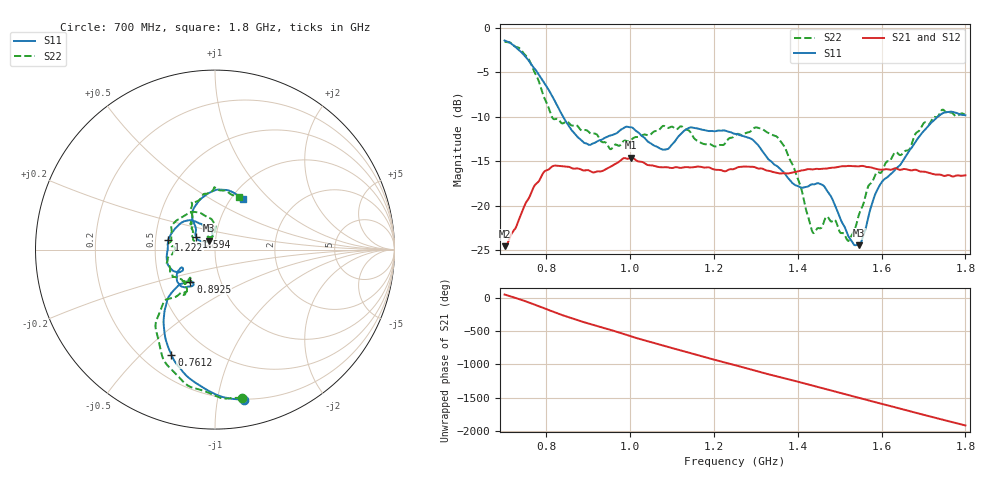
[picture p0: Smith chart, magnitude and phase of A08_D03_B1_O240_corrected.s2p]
! Created with skrf 1.9.0 (http://scikit-rf.org).
# Hz S RI R 50.0
!freq ReS11 ImS11 ReS21 ImS21 ReS12 ImS12 ReS22 ImS22
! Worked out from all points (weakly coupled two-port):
!   1601 points, 700 MHz to 1.8 GHz, reference 50 ohm
!   highest |S21| = -14.60 dB at 1.002 GHz (marker M1); lowest = -24.5 dB at 701.4 MHz (marker M2)
!   lowest |S11| = -24.5 dB at 1.545 GHz (marker M3), VSWR 1.13, Z = 46.6 + j4.66 ohm
!   |S11| at or under -10 dB: 839.7 MHz to 1.734 GHz (893.9 MHz wide, 69.5 % of centre)
!   |S22| runs from -24.0 to -1.5 dB; largest |S21 - S12| = 0.0035
!   S11 on the Smith chart (normalised r, x): 700 MHz: 0.20, -1.19; 761.2 MHz: 0.32, -0.62; 892.5 MHz: 0.72, -0.27; 1.222 GHz: 0.58, +0.07; 1.594 GHz: 0.80, +0.12; 1.8 GHz: 1.13, +0.71
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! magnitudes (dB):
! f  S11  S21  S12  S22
! 700 MHz  -1.4  -24.5  -24.3  -1.5
! 701.4 MHz  -1.4  -24.5  -24.2  -1.5
! 761.2 MHz  -3.9  -18.8  -18.7  -3.9
! 814.8 MHz  -7.8  -15.5  -15.6  -10.1
! 883.6 MHz  -12.6  -15.9  -15.8  -11.5
! 892.5 MHz  -13.0  -16.0  -16.1  -11.5
! 953 MHz  -12.1  -15.6  -15.6  -13.6
! 1.002 GHz  -11.2  -14.6  -14.7  -12.6
! 1.067 GHz  -13.4  -15.6  -15.6  -11.5
! 1.142 GHz  -11.2  -15.7  -15.6  -11.6
! 1.222 GHz  -11.5  -16.1  -16.1  -13.1
! 1.25 GHz  -11.9  -15.8  -15.7  -12.1
! 1.355 GHz  -15.7  -16.4  -16.3  -12.5
! 1.394 GHz  -17.7  -16.2  -16.2  -16.1
! 1.434 GHz  -17.6  -15.9  -15.9  -22.8
! 1.471 GHz  -18.4  -15.8  -15.8  -21.2
! 1.521 GHz  -23.4  -15.5  -15.5  -23.9
! 1.545 GHz  -24.5  -15.6  -15.5  -21.1
! 1.594 GHz  -17.8  -15.9  -15.9  -16.3
! 1.617 GHz  -16.6  -15.9  -15.9  -15.0
! 1.737 GHz  -9.9  -16.5  -16.5  -9.8
! 1.8 GHz  -9.8  -16.6  -16.6  -9.8
